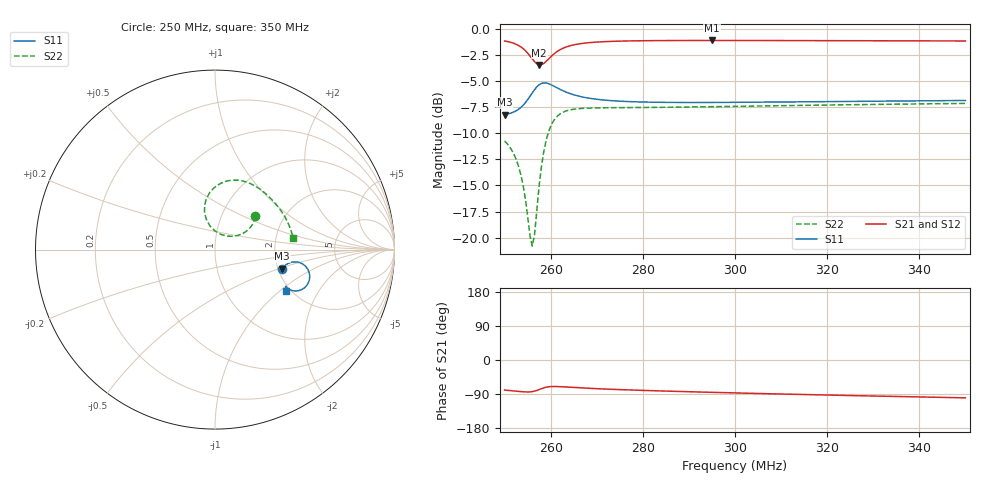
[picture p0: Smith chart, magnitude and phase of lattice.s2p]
! Created Mon Nov 27 15:38:59 2023
# hz S ma R 50
! 2 Port Network Data from SP1.SP block
! freq  magS11  angS11  magS21  angS21  magS12  angS12  magS22  angS22
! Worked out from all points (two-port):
!   201 points, 250 MHz to 350 MHz, reference 50 ohm
!   highest |S21| = -1.09 dB at 295 MHz (marker M1); lowest = -3.4 dB at 257.5 MHz (marker M2)
!   |S21| within 3 dB of the highest: start of sweep to end of sweep
!   lowest |S11| = -8.2 dB at 250 MHz (marker M3), VSWR 2.27, Z = 106 - j26.2 ohm
!   |S11| at or under -10 dB: nowhere
!   |S22| runs from -20.8 to -7.1 dB; largest |S21 - S12| = 1.8e-09
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2.5e8  0.3893 -15.7  0.8774 -79.4  0.8774 -79.4  0.2907 39.5
2.52e8  0.4005 -12.7  0.8548 -81.6  0.8548 -81.6  0.2515 34.0
2.535e8  0.4206 -10.2  0.8223 -83.4  0.8223 -83.4  0.2012 30.3
2.545e8  0.4437 -8.9  0.7884 -84.3  0.7884 -84.3  0.1535 31.3
2.555e8  0.4759 -8.7  0.7438 -84.2  0.7438 -84.2  0.1024 47.0
2.56e8  0.4943 -9.3  0.7199 -83.5  0.7199 -83.5  0.09093 67.6
2.565e8  0.5124 -10.4  0.6982 -82.2  0.6982 -82.2  0.1035 89.8
2.575e8  0.541 -13.8  0.6738 -77.9  0.6738 -77.9  0.1775 106.2
2.58e8  0.5491 -15.9  0.6751 -75.6  0.6751 -75.6  0.2198 105.5
2.59e8  0.5516 -19.9  0.6997 -71.9  0.6997 -71.9  0.2922 99.1
2.595e8  0.5479 -21.6  0.7177 -70.8  0.7177 -70.8  0.3199 95.1
2.605e8  0.5354 -24.2  0.7536 -69.9  0.7536 -69.9  0.3594 87.8
2.62e8  0.5145 -26.5  0.7958 -70.3  0.7958 -70.3  0.3913 78.9
2.635e8  0.4971 -27.6  0.8231 -71.4  0.8231 -71.4  0.406 72.3
2.67e8  0.472 -28.2  0.8549 -73.9  0.8549 -73.9  0.4169 62.5
2.735e8  0.4532 -27.9  0.874 -77.5  0.874 -77.5  0.4197 52.3
2.835e8  0.4456 -27.5  0.8811 -81.5  0.8811 -81.5  0.4213 42.8
2.95e8  0.4448 -27.5  0.8823 -85.4  0.8823 -85.4  0.4245 34.8
3e8  0.4454 -27.6  0.8822 -86.9  0.8822 -86.9  0.426 31.8
3.17e8  0.4485 -28.2  0.8808 -91.7  0.8808 -91.7  0.4315 22.7
3.335e8  0.4518 -29.1  0.879 -95.9  0.879 -95.9  0.4362 15.1
3.5e8  0.4547 -30.2  0.8774 -99.9  0.8774 -99.9  0.44 8.4
